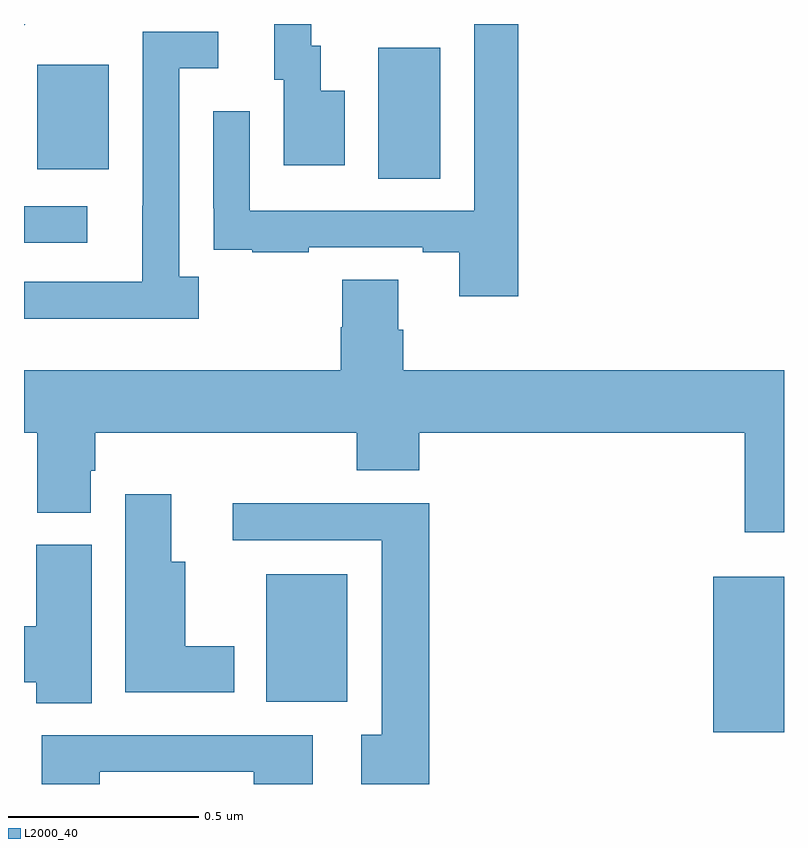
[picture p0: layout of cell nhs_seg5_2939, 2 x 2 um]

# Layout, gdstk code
import gdstk
lib = gdstk.Library(unit=1e-6, precision=1e-09)
def R(c, l, rs):  # rectangles x0, y0, x1, y1
    for r in rs: c.add(gdstk.rectangle(r[:2], r[2:], *l))
def P(c, l, *ps):  # polygons
    for p in ps: c.add(gdstk.Polygon(p, *l))
L2000_40 = (2000, 40)

nhs_seg5_2939 = lib.new_cell('nhs_seg5_2939')
R(nhs_seg5_2939, L2000_40, [(151.814,891.935,152,892.345), (150.638,892.016,150.85,892.351), (150,893.223,150.166,893.319), (150.932,893.392,151.096,893.736), (150.035,893.417,150.223,893.692)])
P(nhs_seg5_2939, L2000_40, [(150.003,893.799),(150,893.799),(150,893.796)],
  [(150.844,893.623),(150.781,893.623),(150.781,893.742),(150.756,893.742),(150.756,893.799),(150.659,893.799),(150.659,893.652),(150.683,893.652),(150.683,893.427),(150.844,893.427)],
  [(151.301,893.799),(151.185,893.799),(151.185,893.307),(150.594,893.307),(150.594,893.569),(150.498,893.569),(150.498,893.314),(150.499,893.314),(150.499,893.205),(150.601,893.205),(150.601,893.199),(150.749,893.199),(150.749,893.211),(151.049,893.211),(151.049,893.199),(151.145,893.199),(151.145,893.082),(151.301,893.082)],
  [(150.46,893.134),(150.408,893.134),(150.408,893.682),(150.511,893.682),(150.511,893.778),(150.312,893.778),(150.312,893.321),(150.311,893.321),(150.311,893.121),(150,893.121),(150,893.024),(150.46,893.024)],
  [(152,892.888),(150.998,892.888),(150.998,892.994),(150.985,892.994),(150.985,893.126),(150.838,893.126),(150.838,893.001),(150.833,893.001),(150.833,892.888),(150,892.888),(150,892.724),(150.035,892.724),(150.035,892.513),(150.175,892.513),(150.175,892.623),(150.188,892.623),(150.188,892.724),(150.875,892.724),(150.875,892.625),(151.04,892.625),(151.04,892.724),(151.897,892.724),(151.897,892.461),(152,892.461)],
  [(150.553,892.162),(150.424,892.162),(150.424,892.384),(150.388,892.384),(150.388,892.561),(150.266,892.561),(150.266,892.04),(150.553,892.04)],
  [(151.067,892.538),(150.549,892.538),(150.549,892.44),(150.941,892.44),(150.941,891.928),(150.887,891.928),(150.887,891.799),(151.067,891.799)],
  [(150.178,892.428),(150.032,892.428),(150.032,892.214),(150,892.214),(150,892.067),(150.032,892.067),(150.032,892.012),(150.178,892.012)],
  [(150.199,891.831),(150.604,891.831),(150.604,891.799),(150.76,891.799),(150.76,891.927),(150.047,891.927),(150.047,891.799),(150.199,891.799)])

lib.write_gds('nhs_seg5_2939.gds')
